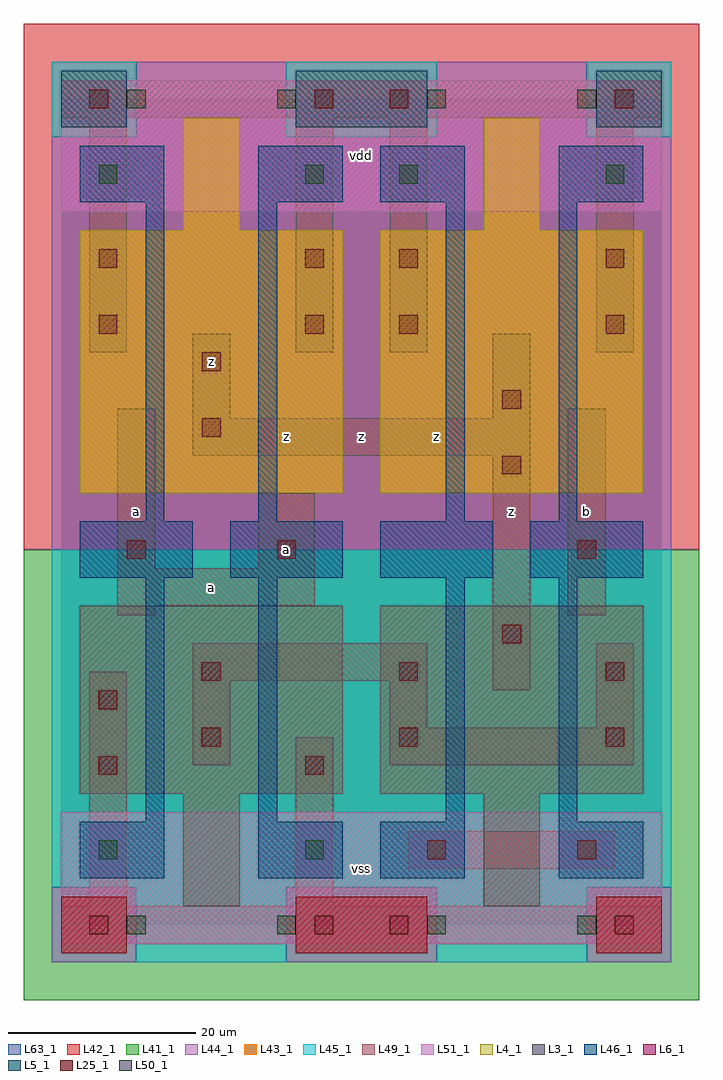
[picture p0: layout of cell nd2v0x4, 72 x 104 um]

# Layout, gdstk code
import gdstk
lib = gdstk.Library(unit=1e-6, precision=1e-09)
def R(c, l, rs):  # rectangles x0, y0, x1, y1
    for r in rs: c.add(gdstk.rectangle(r[:2], r[2:], *l))
def A(c, l, x, y, w, h, nx, ny, dx, dy):  # array of equal rectangles
    R(c, l, [(x+i*dx, y+j*dy, x+i*dx+w, y+j*dy+h) for i in range(nx) for j in range(ny)])
L3_1 = (3, 1)
L4_1 = (4, 1)
L5_1 = (5, 1)
L6_1 = (6, 1)
L25_1 = (25, 1)
L41_1 = (41, 1)
L42_1 = (42, 1)
L43_1 = (43, 1)
L44_1 = (44, 1)
L45_1 = (45, 1)
L46_1 = (46, 1)
L49_1 = (49, 1)
L50_1 = (50, 1)
L51_1 = (51, 1)
L63_1 = (63, 1)

nd2v0x4 = lib.new_cell('nd2v0x4')
R(nd2v0x4, L3_1, [(13,2,19,14), (45,2,51,14), (2,14,30,34), (34,14,62,34)])
R(nd2v0x4, L4_1, [(2,46,30,74), (34,46,62,74), (13,74,19,86), (45,74,51,86)])
R(nd2v0x4, L5_1, [(0,85,7,91), (25,85,39,91), (57,85,64,91)])
R(nd2v0x4, L6_1, [(0,-3,7,3), (0,-3,7,3), (25,-3,39,3), (25,-3,39,3), (57,-3,64,3), (57,-3,64,3)])
R(nd2v0x4, L25_1, [(3,-1,5,1), (27,-1,29,1), (35,-1,37,1), (59,-1,61,1), (39,7,41,9), (55,7,57,9), (4,16,6,18), (26,16,28,18), (15,19,17,21), (36,19,38,21), (58,19,60,21), (4,23,6,25), (15,26,17,28), (36,26,38,28), (58,26,60,28), (47,30,49,32), (7,39,9,41), (23,39,25,41), (55,39,57,41), (47,48,49,50), (15,52,17,54), (47,55,49,57), (15,59,17,61), (4,63,6,65), (26,63,28,65), (36,63,38,65), (58,63,60,65), (4,70,6,72), (26,70,28,72), (36,70,38,72), (58,70,60,72), (3,87,5,89), (27,87,29,89), (35,87,37,89), (59,87,61,89)])
R(nd2v0x4, L41_1, [(-4,-8,68,40)])
R(nd2v0x4, L42_1, [(-4,40,68,96)])
R(nd2v0x4, L43_1, [(0,-3,7,3), (25,-3,39,3), (57,-3,64,3), (13,2,19,14), (45,2,51,14), (2,14,30,34), (34,14,62,34), (2,46,30,74), (34,46,62,74), (13,74,19,86), (45,74,51,86), (0,85,7,91), (25,85,39,91), (57,85,64,91)])
R(nd2v0x4, L44_1, [(-1,-4,8,4), (24,-4,40,4), (56,-4,65,4), (-1,40,65,84), (8,84,24,92), (40,84,56,92)])
R(nd2v0x4, L45_1, [(8,-4,24,4), (40,-4,56,4), (-1,4,65,40), (-1,84,8,92), (24,84,40,92), (56,84,65,92)])
A(nd2v0x4, L46_1, 2, 37, 12, 6, 4, 1, 16, 0)
R(nd2v0x4, L46_1, [(2,5,11,11), (21,5,30,11), (34,5,43,11), (53,5,62,11), (9,11,11,37), (21,11,23,37), (41,11,43,37), (53,11,55,37), (9,43,11,77), (21,43,23,77), (41,43,43,77), (53,43,55,77), (2,77,11,83), (21,77,30,83), (34,77,43,83), (53,77,62,83)])
R(nd2v0x4, L49_1, [(0,-2,64,2), (3,2,7,27), (25,2,29,20), (37,6,59,10), (14,17,18,26), (35,17,61,21), (35,21,39,26), (57,21,61,30), (46,25,50,50), (14,26,39,30), (6,33,10,34), (54,33,58,55), (6,34,27,38), (6,38,10,55), (21,38,27,46), (14,50,50,54), (14,54,18,63), (46,54,50,63), (3,61,7,86), (25,61,29,86), (35,61,39,86), (57,61,61,86), (0,86,64,90)])
A(nd2v0x4, L50_1, 7, -1, 2, 2, 4, 2, 16, 88)
R(nd2v0x4, L50_1, [(4,7,6,9), (26,7,28,9), (4,79,6,81), (26,79,28,81), (36,79,38,81), (58,79,60,81)])
R(nd2v0x4, L51_1, [(0,-2,64,12), (0,76,64,90)])
R(nd2v0x4, L63_1, [(0,0,64,88)])
nd2v0x4.add(gdstk.Label('a', (8,44), layer=49, texttype=1))
nd2v0x4.add(gdstk.Label('a', (16,36), layer=49, texttype=1))
nd2v0x4.add(gdstk.Label('z', (16,60), layer=49, texttype=1))
nd2v0x4.add(gdstk.Label('a', (24,40), layer=49, texttype=1))
nd2v0x4.add(gdstk.Label('z', (32,52), layer=49, texttype=1))
nd2v0x4.add(gdstk.Label('z', (24,52), layer=49, texttype=1))
nd2v0x4.add(gdstk.Label('z', (48,44), layer=49, texttype=1))
nd2v0x4.add(gdstk.Label('z', (40,52), layer=49, texttype=1))
nd2v0x4.add(gdstk.Label('b', (56,44), layer=49, texttype=1))
nd2v0x4.add(gdstk.Label('vss', (32,6), layer=51, texttype=1))
nd2v0x4.add(gdstk.Label('vdd', (32,82), layer=51, texttype=1))

lib.write_gds('nd2v0x4.gds')
